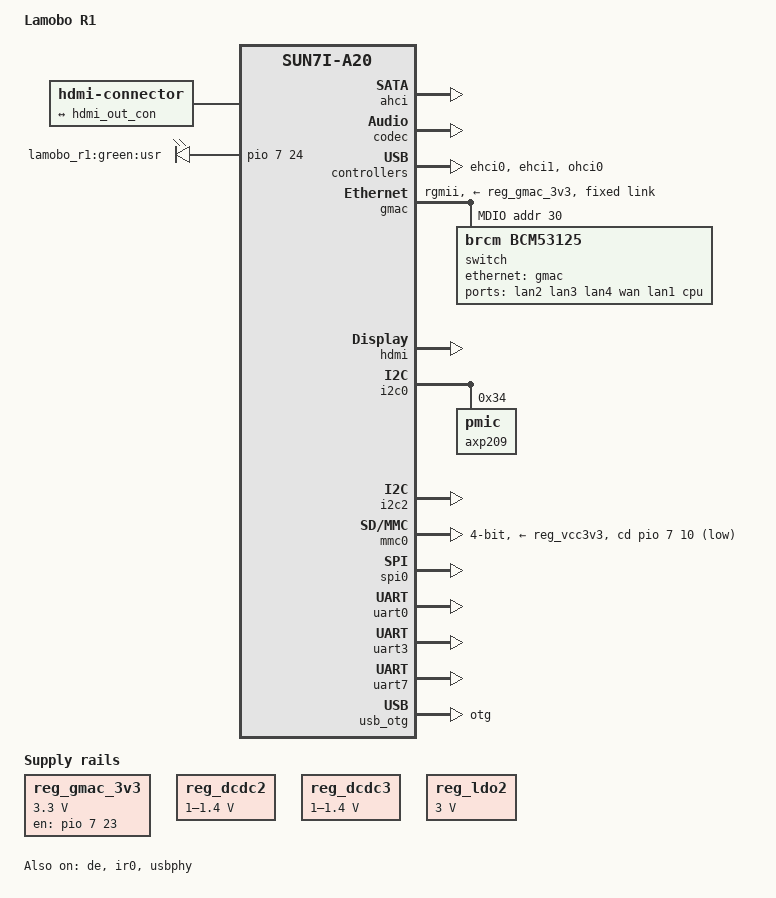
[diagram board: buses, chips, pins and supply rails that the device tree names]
/*
 * Copyright 2015 Jelle de Jong <jelledejong@powercraft.nl>
 *
 * This file is dual-licensed: you can use it either under the terms
 * of the GPL or the X11 license, at your option. Note that this dual
 * licensing only applies to this file, and not this project as a
 * whole.
 *
 *  a) This file is free software; you can redistribute it and/or
 *     modify it under the terms of the GNU General Public License as
 *     published by the Free Software Foundation; either version 2 of the
 *     License, or (at your option) any later version.
 *
 *     This file is distributed in the hope that it will be useful,
 *     but WITHOUT ANY WARRANTY; without even the implied warranty of
 *     MERCHANTABILITY or FITNESS FOR A PARTICULAR PURPOSE.  See the
 *     GNU General Public License for more details.
 *
 * Or, alternatively,
 *
 *  b) Permission is hereby granted, free of charge, to any person
 *     obtaining a copy of this software and associated documentation
 *     files (the "Software"), to deal in the Software without
 *     restriction, including without limitation the rights to use,
 *     copy, modify, merge, publish, distribute, sublicense, and/or
 *     sell copies of the Software, and to permit persons to whom the
 *     Software is furnished to do so, subject to the following
 *     conditions:
 *
 *     The above copyright notice and this permission notice shall be
 *     included in all copies or substantial portions of the Software.
 *
 *     THE SOFTWARE IS PROVIDED "AS IS", WITHOUT WARRANTY OF ANY KIND,
 *     EXPRESS OR IMPLIED, INCLUDING BUT NOT LIMITED TO THE WARRANTIES
 *     OF MERCHANTABILITY, FITNESS FOR A PARTICULAR PURPOSE AND
 *     NONINFRINGEMENT. IN NO EVENT SHALL THE AUTHORS OR COPYRIGHT
 *     HOLDERS BE LIABLE FOR ANY CLAIM, DAMAGES OR OTHER LIABILITY,
 *     WHETHER IN AN ACTION OF CONTRACT, TORT OR OTHERWISE, ARISING
 *     FROM, OUT OF OR IN CONNECTION WITH THE SOFTWARE OR THE USE OR
 *     OTHER DEALINGS IN THE SOFTWARE.
 */

/dts-v1/;
#include "sun7i-a20.dtsi"
#include "sunxi-common-regulators.dtsi"

#include <dt-bindings/gpio/gpio.h>
#include <dt-bindings/interrupt-controller/irq.h>

/ {
	model = "Lamobo R1";
	compatible = "lamobo,lamobo-r1", "allwinner,sun7i-a20";

	aliases {
		serial0 = &uart0;
		serial1 = &uart3;
		serial2 = &uart7;
	};

	chosen {
		stdout-path = "serial0:115200n8";
	};

	hdmi-connector {
		compatible = "hdmi-connector";
		type = "a";

		port {
			hdmi_con_in: endpoint {
				remote-endpoint = <&hdmi_out_con>;
			};
		};
	};

	leds {
		compatible = "gpio-leds";

		green {
			label = "lamobo_r1:green:usr";
			gpios = <&pio 7 24 GPIO_ACTIVE_HIGH>;
		};
	};

	reg_gmac_3v3: gmac-3v3 {
		compatible = "regulator-fixed";
		regulator-name = "gmac-3v3";
		regulator-min-microvolt = <3300000>;
		regulator-max-microvolt = <3300000>;
		startup-delay-us = <100000>;
		enable-active-high;
		gpio = <&pio 7 23 GPIO_ACTIVE_HIGH>; /* PH23 */
	};
};

&ahci {
	target-supply = <&reg_ahci_5v>;
	status = "okay";
};

&codec {
	status = "okay";
};

&cpu0 {
	cpu-supply = <&reg_dcdc2>;
};

&de {
	status = "okay";
};

&ehci0 {
	status = "okay";
};

&ehci1 {
	status = "okay";
};

&gmac {
	pinctrl-names = "default";
	pinctrl-0 = <&gmac_rgmii_pins>;
	phy-mode = "rgmii";
	phy-supply = <&reg_gmac_3v3>;
	status = "okay";

	fixed-link {
		speed = <1000>;
		full-duplex;
	};

	mdio {
		compatible = "snps,dwmac-mdio";
		#address-cells = <1>;
		#size-cells = <0>;

		switch: ethernet-switch@1e {
			compatible = "brcm,bcm53125";
			reg = <30>;

			ports {
				#address-cells = <1>;
				#size-cells = <0>;

				port0: port@0 {
					reg = <0>;
					label = "lan2";
				};

				port1: port@1 {
					reg = <1>;
					label = "lan3";
				};

				port2: port@2 {
					reg = <2>;
					label = "lan4";
				};

				port3: port@3 {
					reg = <3>;
					label = "wan";
				};

				port4: port@4 {
					reg = <4>;
					label = "lan1";
				};

				port8: port@8 {
					reg = <8>;
					label = "cpu";
					ethernet = <&gmac>;
					phy-mode = "rgmii-txid";
					fixed-link {
						speed = <1000>;
						full-duplex;
					};
				};
			};
		};
	};
};

&hdmi {
	status = "okay";
};

&hdmi_out {
	hdmi_out_con: endpoint {
		remote-endpoint = <&hdmi_con_in>;
	};
};

&i2c0 {
	status = "okay";

	axp209: pmic@34 {
		reg = <0x34>;
		interrupt-parent = <&nmi_intc>;
		interrupts = <0 IRQ_TYPE_LEVEL_LOW>;
	};
};

&i2c2 {
	status = "okay";
};

&ir0 {
	pinctrl-names = "default";
	pinctrl-0 = <&ir0_rx_pin>;
	status = "okay";
};

&mmc0 {
	vmmc-supply = <&reg_vcc3v3>;
	bus-width = <4>;
	cd-gpios = <&pio 7 10 GPIO_ACTIVE_LOW>; /* PH10 */
	status = "okay";
};

&ohci0 {
	status = "okay";
};

&otg_sram {
	status = "okay";
};

#include "axp209.dtsi"

&ac_power_supply {
	status = "okay";
};

&battery_power_supply {
	status = "okay";
};

&reg_ahci_5v {
	gpio = <&pio 1 3 GPIO_ACTIVE_HIGH>; /* PB3 */
	status = "okay";
};

&reg_dcdc2 {
	regulator-always-on;
	regulator-min-microvolt = <1000000>;
	regulator-max-microvolt = <1400000>;
	regulator-name = "vdd-cpu";
};

&reg_dcdc3 {
	regulator-always-on;
	regulator-min-microvolt = <1000000>;
	regulator-max-microvolt = <1400000>;
	regulator-name = "vdd-int-dll";
};

&reg_ldo1 {
	regulator-name = "vdd-rtc";
};

&reg_ldo2 {
	regulator-always-on;
	regulator-min-microvolt = <3000000>;
	regulator-max-microvolt = <3000000>;
	regulator-name = "avcc";
};

&reg_usb0_vbus {
	status = "okay";
};

&reg_usb2_vbus {
	gpio = <&pio 7 12 GPIO_ACTIVE_HIGH>; /* PH12 */
	status = "okay";
};

&spi0 {
	pinctrl-names = "default";
	pinctrl-0 = <&spi0_pi_pins>,
		    <&spi0_cs0_pi_pin>,
		    <&spi0_cs1_pi_pin>;
	status = "okay";
};

&uart0 {
	pinctrl-names = "default";
	pinctrl-0 = <&uart0_pb_pins>;
	status = "okay";
};

&uart3 {
	pinctrl-names = "default";
	pinctrl-0 = <&uart3_ph_pins>;
	status = "okay";
};

&uart7 {
	pinctrl-names = "default";
	pinctrl-0 = <&uart7_pi_pins>;
	status = "okay";
};

&usb_otg {
	dr_mode = "otg";
	status = "okay";
};

&usb_power_supply {
	status = "okay";
};

&usbphy {
	usb0_id_det-gpios = <&pio 7 4 (GPIO_ACTIVE_HIGH | GPIO_PULL_UP)>; /* PH4 */
	usb0_vbus_power-supply = <&usb_power_supply>;
	usb0_vbus-supply = <&reg_usb0_vbus>;
	usb2_vbus-supply = <&reg_usb2_vbus>;
	status = "okay";
};
